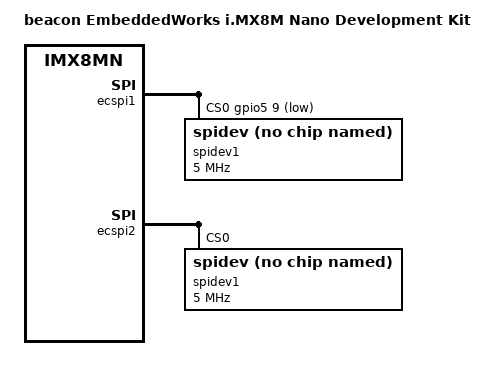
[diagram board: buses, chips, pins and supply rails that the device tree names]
// SPDX-License-Identifier: (GPL-2.0 OR MIT)
/*
 * Copyright 2020 Beacon EmbeddedWorks
 */

/dts-v1/;

#include "fsl-imx8mn.dtsi"
#include "beacon-imx8mn-som.dtsi"
#include "beacon-imx8mn-baseboard.dtsi"
#include "beacon-imx8mn-lvds.dtsi"

/ {
	model = "beacon EmbeddedWorks i.MX8M Nano Development Kit";
	compatible = "fsl,imx8mn";

	chosen {
		stdout-path = &uart2;
	};

	aliases {
		/delete-property/ serial2;
	};
};

/* UART3 shares pins with ECSPI1, so they cannot both exist */
/delete-node/ &uart3;

&ecspi1 {
	pinctrl-names = "default";
	pinctrl-0 = <&pinctrl_ecspi1>;
	status = "okay";
	cs-gpios = <&gpio5 9 GPIO_ACTIVE_LOW>;

	spidev1@0x00 {
               compatible = "spidev";
               spi-max-frequency = <5000000>;
               reg = <0>;
       };
};

&ecspi2 {
	/delete-node/ at25@0;
	
	spidev1@0x00 {
               compatible = "spidev";
               spi-max-frequency = <5000000>;
               reg = <0>;
       };
};

&iomuxc {
	pinctrl_ecspi1: uart3grp {
		fsl,pins = <
			MX8MN_IOMUXC_ECSPI1_SCLK_ECSPI1_SCLK		0x82
			MX8MN_IOMUXC_ECSPI1_MOSI_ECSPI1_MOSI		0x82
			MX8MN_IOMUXC_ECSPI1_MISO_ECSPI1_MISO		0x82
			MX8MN_IOMUXC_ECSPI1_SS0_GPIO5_IO9		0x41
		>;
	};
};
